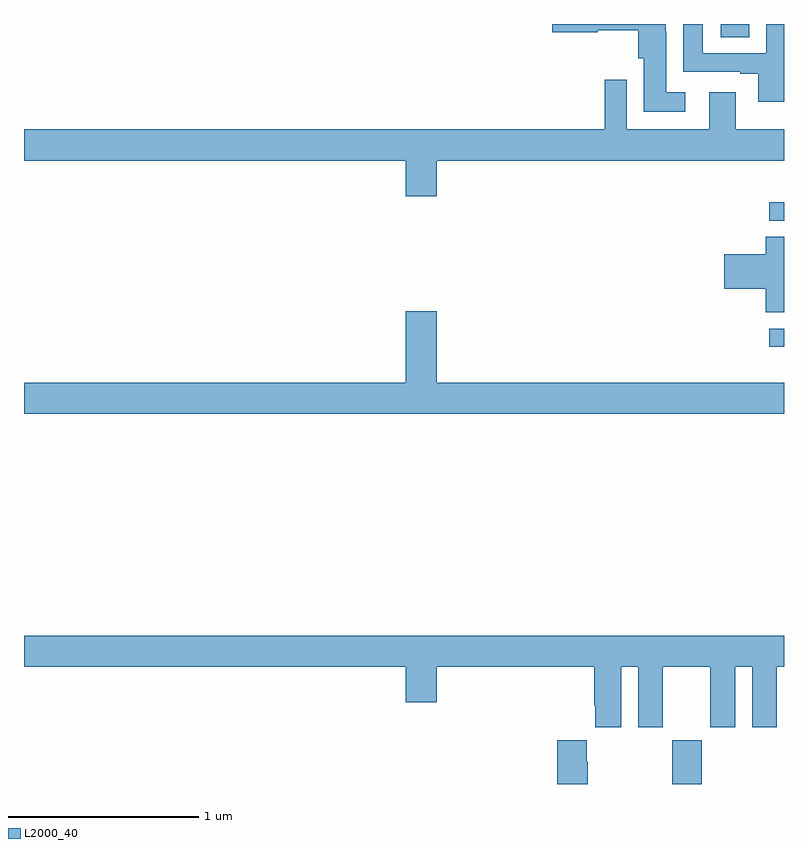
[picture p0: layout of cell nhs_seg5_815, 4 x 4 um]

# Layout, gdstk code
import gdstk
lib = gdstk.Library(unit=1e-6, precision=1e-09)
def R(c, l, rs):  # rectangles x0, y0, x1, y1
    for r in rs: c.add(gdstk.rectangle(r[:2], r[2:], *l))
def P(c, l, *ps):  # polygons
    for p in ps: c.add(gdstk.Polygon(p, *l))
L2000_40 = (2000, 40)

nhs_seg5_815 = lib.new_cell('nhs_seg5_815')
R(nhs_seg5_815, L2000_40, [(166.411,866.799,166.566,867.028), (166.923,869.1,167,869.196), (166.923,869.763,167,869.862), (166.667,870.73,166.816,870.799)])
P(nhs_seg5_815, L2000_40, [(166.48,870.439),(166.381,870.439),(166.381,870.758),(166.377,870.758),(166.377,870.799),(165.78,870.799),(165.78,870.755),(166.02,870.755),(166.02,870.767),(166.232,870.767),(166.232,870.618),(166.262,870.618),(166.262,870.338),(166.48,870.338)],
  [(167,870.799),(166.907,870.799),(166.907,870.645),(166.573,870.645),(166.573,870.799),(166.469,870.799),(166.469,870.549),(166.769,870.549),(166.769,870.537),(166.865,870.537),(166.865,870.39),(167,870.39)],
  [(165.172,870.08),(167,870.08),(167,870.244),(166.747,870.244),(166.747,870.439),(166.607,870.439),(166.607,870.244),(166.173,870.244),(166.173,870.505),(166.057,870.505),(166.057,870.244),(163,870.244),(163,870.08),(165.008,870.08),(165.008,869.892),(165.172,869.892)],
  [(167,869.678),(166.904,869.678),(166.904,869.588),(166.686,869.588),(166.686,869.405),(166.904,869.405),(166.904,869.281),(167,869.281)],
  [(167,868.912),(165.172,868.912),(165.172,869.287),(165.008,869.287),(165.008,868.912),(163,868.912),(163,868.748),(167,868.748)],
  [(166.144,867.416),(166.232,867.416),(166.232,867.099),(166.363,867.099),(166.363,867.416),(166.613,867.416),(166.613,867.099),(166.744,867.099),(166.744,867.416),(166.832,867.416),(166.832,867.099),(166.963,867.099),(166.963,867.416),(167,867.416),(167,867.58),(163,867.58),(163,867.416),(165.008,867.416),(165.008,867.228),(165.172,867.228),(165.172,867.416),(166.001,867.416),(166.001,867.211),(166.007,867.211),(166.007,867.099),(166.144,867.099)],
  [(165.966,866.915),(165.961,866.915),(165.961,867.028),(165.806,867.028),(165.806,866.799),(165.966,866.799)])

lib.write_gds('nhs_seg5_815.gds')
